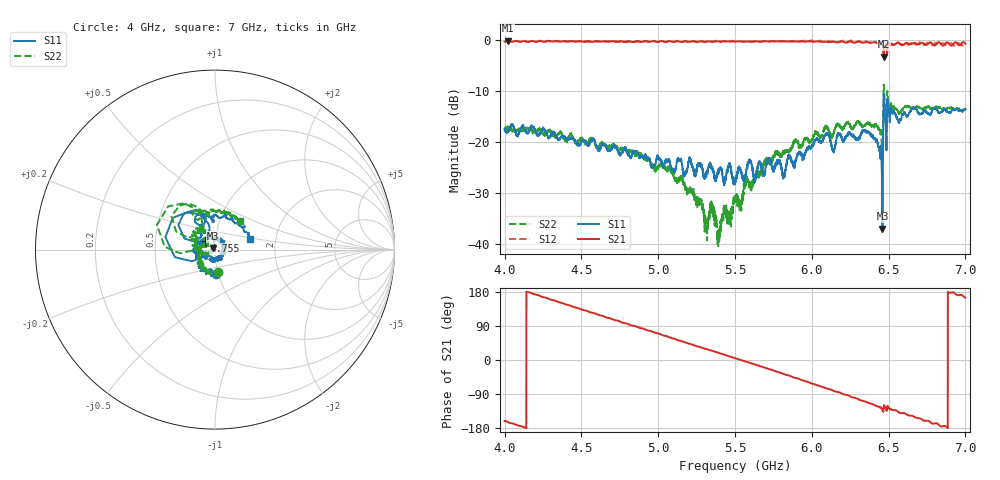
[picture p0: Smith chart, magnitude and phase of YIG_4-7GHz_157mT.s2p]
#  HZ  S  RI  R  50.0
! Rohde & Schwarz ZVL13 2Ports - Version 3.31 - 1303.6509k13 SN: 101088
! Date: 2023-03-06 15:08:48
! Data & Calibration Information:
! Trc4:S11(TOSM) Trc2:S21(TOSM) Trc3:S12(TOSM) Trc5:S22(TOSM)
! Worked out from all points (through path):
!   4000 points, 4 GHz to 7 GHz, reference 50 ohm
!   highest |S21| = -0.19 dB at 4.02 GHz (marker M1); lowest = -3.3 dB at 6.467 GHz (marker M2)
!   group delay of S21, straight-line fit = 364 ps
!   lowest |S11| = -37.0 dB at 6.46 GHz (marker M3), VSWR 1.03, Z = 48.8 + j0.675 ohm
!   |S11| at or under -10 dB: start of sweep to end of sweep
!   |S22| runs from -40.5 to -8.8 dB; largest |S21 - S12| = 0.078
!   S11 on the Smith chart (normalised r, x): 4 GHz: 0.97, -0.27; 4.755 GHz: 0.89, +0.09; 7 GHz: 1.48, +0.18
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4e9  0.00398 -0.134  -0.9059 -0.3164  -0.9115 -0.2954  0.0188 -0.1275
4.019505e9  -0.0181 -0.1231  -0.9388 -0.2768  -0.9304 -0.2798  0.012 -0.1387
4.277569e9  -0.0744 -0.0911  -0.9301 0.2786  -0.9339 0.2869  -0.0641 -0.1053
4.500375e9  -0.0988 -0.00889  -0.6634 0.7051  -0.6578 0.6924  -0.081 -0.0655
4.754689e9  -0.0583 0.0483  -0.1811 0.9537  -0.1803 0.9372  -0.0858 -0.00464
5e9  -0.000263 0.0705  0.3278 0.8991  0.3313 0.8866  -0.0466 0.0331
5.156789e9  0.0287 0.0491  0.6252 0.7215  0.6205 0.7216  -0.0308 0.03
5.312078e9  0.0489 0.00328  0.8403 0.4646  0.8321 0.4748  -0.0105 0.00833
5.351088e9  0.0539 0.0113  0.8788 0.3901  0.8665 0.3807  -0.0202 0.00973
5.394599e9  0.0501 -0.00937  0.9145 0.3101  0.9082 0.2912  -0.00949 0.00558
5.500375e9  0.0325 -0.0302  0.962 0.0784  0.9505 0.0723  -0.0217 -0.0137
5.736684e9  0.00243 -0.0615  0.8677 -0.4203  0.8781 -0.4208  -0.0632 -0.0183
5.816954e9  -0.025 -0.0375  0.7796 -0.5818  0.7689 -0.5771  -0.0783 -0.0169
6e9  -0.0873 -0.0124  0.4497 -0.8483  0.4616 -0.8683  -0.1029 0.021
6.254314e9  -0.1008 0.0622  -0.1144 -0.9536  -0.1172 -0.9764  -0.102 0.0936
6.382596e9  -0.0643 0.0964  -0.3953 -0.8516  -0.3921 -0.8485  -0.0744 0.1269
6.448612e9  -0.0411 0.0682  -0.5255 -0.7387  -0.5534 -0.7623  -0.0798 0.1075
6.459865e9  -0.0123 0.00692  -0.6163 -0.6954  -0.6047 -0.7158  -0.0634 0.036
6.467367e9  -0.2657 0.00978  -0.4445 -0.5208  -0.4982 -0.5574  -0.3132 0.0733
6.500375e9  -0.0621 0.1947  -0.5361 -0.7489  -0.5477 -0.741  -0.0846 0.2145
6.772693e9  0.1152 0.1462  -0.9101 -0.2503  -0.872 -0.2096  0.0553 0.2058
7e9  0.1979 0.0583  -0.8829 0.2455  -0.9024 0.2167  0.1399 0.1545
